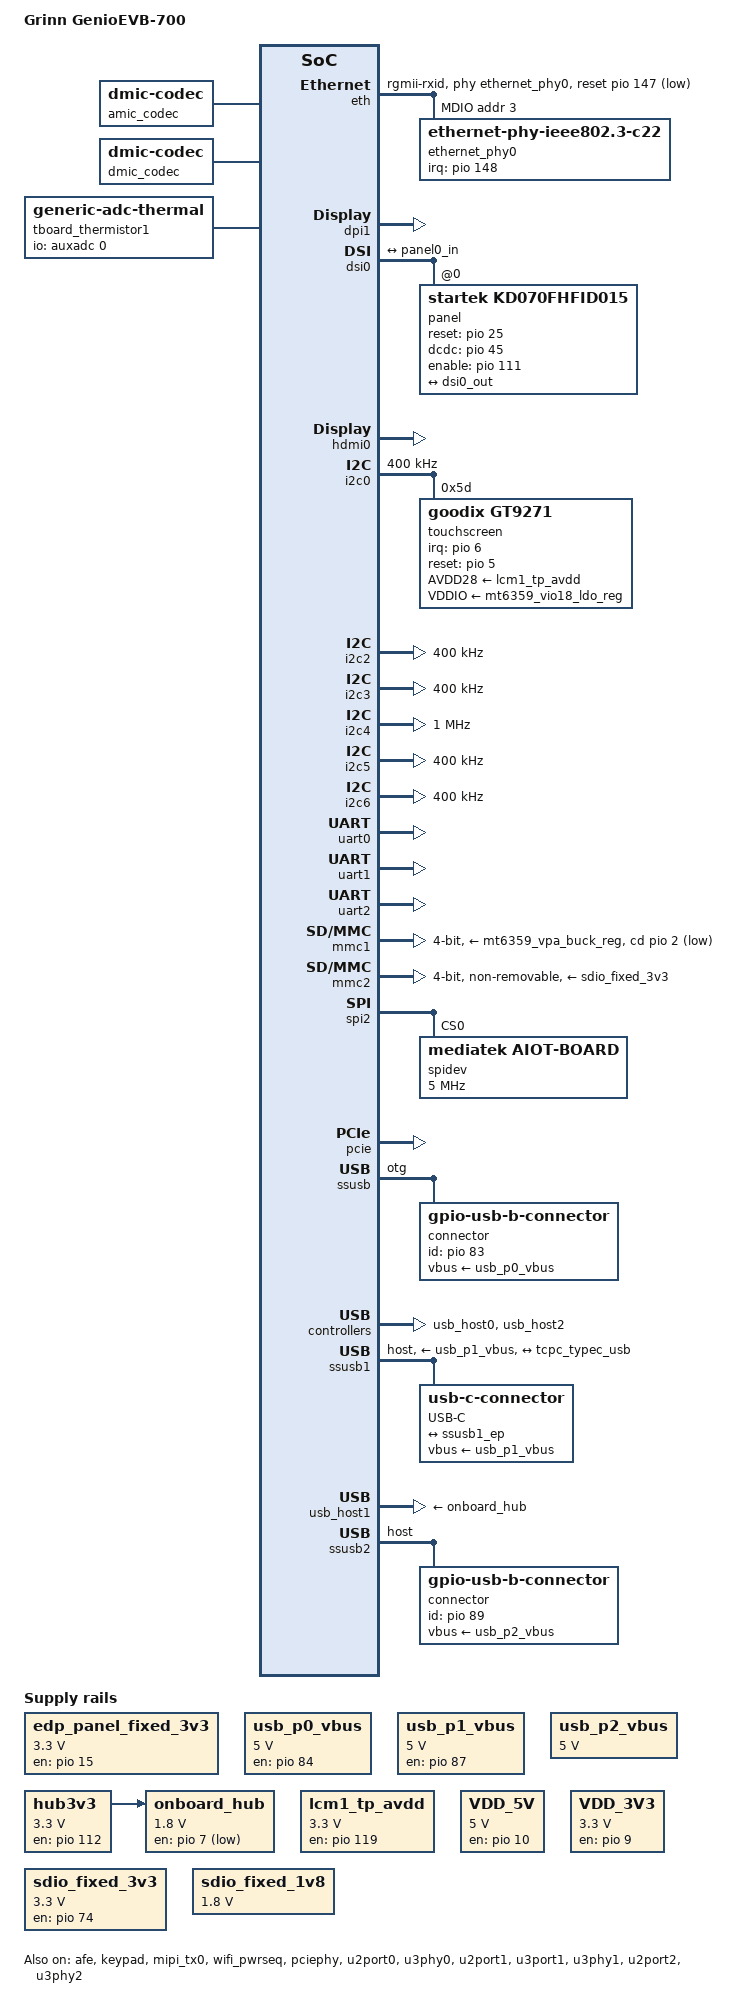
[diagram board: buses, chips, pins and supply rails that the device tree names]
// SPDX-License-Identifier: (GPL-2.0 OR MIT)
/*
 * Copyright (C) 2025 Grinn sp. z o.o..
 * Author: Grzegorz Runc <grzegorz.runc@grinn-global.com>
 */
/dts-v1/;
#include "grinn-genio-700-som.dtsi"
#include <dt-bindings/usb/pd.h>

/ {
	model = "Grinn GenioEVB-700";

	aliases {
		serial0 = &uart0;
		dsi0 = &dsi0;
		ethernet0 = &eth;
	};

	backlight_lcd0: backlight-lcd0 {
		compatible = "pwm-backlight";
		pwms = <&disp_pwm0 0 500000>;
		enable-gpios = <&pio 8 GPIO_ACTIVE_HIGH>;
		brightness-levels = <0 1023>;
		num-interpolated-steps = <1023>;
		default-brightness-level = <576>;
		status = "disabled";
	};

	chosen {
		stdout-path = "serial0:921600n8";
	};

	edp_panel_fixed_3v3: regulator@0 {
		compatible = "regulator-fixed";
		regulator-name = "edp_panel_3v3";
		regulator-min-microvolt = <3300000>;
		regulator-max-microvolt = <3300000>;
		enable-active-high;
		gpio = <&pio 15 GPIO_ACTIVE_HIGH>;
		pinctrl-names = "default";
		pinctrl-0 = <&edp_panel_3v3_en_pins>;
	};

	usb_p0_vbus: usb0-otg-vbus {
		compatible = "regulator-fixed";
		regulator-name = "p0_vbus";
		regulator-min-microvolt = <5000000>;
		regulator-max-microvolt = <5000000>;
		gpio = <&pio 84 GPIO_ACTIVE_HIGH>;
		enable-active-high;
	};

	usb_p1_vbus: usb-p1-vbus {
		compatible = "regulator-fixed";
		regulator-name = "p1_vbus";
		regulator-min-microvolt = <5000000>;
		regulator-max-microvolt = <5000000>;
		gpio = <&pio 87 GPIO_ACTIVE_HIGH>;
		enable-active-high;
	};

	usb_p2_vbus: usb-p2-vbus {
		compatible = "regulator-fixed";
		regulator-name = "p2_vbus";
		regulator-min-microvolt = <5000000>;
		regulator-max-microvolt = <5000000>;
		enable-active-high;
	};

	hub3v3: regulator@4 {
		compatible = "regulator-fixed";
		regulator-name = "vhub3v3";
		regulator-min-microvolt = <3300000>;
		regulator-max-microvolt = <3300000>;
		gpio = <&pio 112 0>; /* HUB_3V3_EN */
		startup-delay-us = <10000>;
		enable-active-high;
	};

	onboard_hub: regulator@5 {
		compatible = "regulator-fixed";
		regulator-name = "hub_reset";
		regulator-min-microvolt = <1800000>;
		regulator-max-microvolt = <1800000>;
		gpio = <&pio 7 0>; /* HUB_RESET */
		vin-supply = <&hub3v3>;
		enable-active-low;
	};

	lcm1_tp_avdd: lcm1-tp-avdd {
		compatible = "regulator-fixed";
		regulator-name = "lcm1-tp-avdd";
		regulator-min-microvolt = <3300000>;
		regulator-max-microvolt = <3300000>;
		gpio = <&pio 119 GPIO_ACTIVE_HIGH>;
		enable-active-high;
	};

	VDD_5V: VDD-5V {
		compatible = "regulator-fixed";
		regulator-name = "VDD-5V";
		regulator-min-microvolt = <5000000>;
		regulator-max-microvolt = <5000000>;
		gpio = <&pio 10 GPIO_ACTIVE_HIGH>;
		enable-active-high;
		regulator-always-on;
	};

	VDD_3V3: VDD-3V3 {
		compatible = "regulator-fixed";
		regulator-name = "VDD-3V3";
		regulator-min-microvolt = <3300000>;
		regulator-max-microvolt = <3300000>;
		gpio = <&pio 9 GPIO_ACTIVE_HIGH>;
		enable-active-high;
		regulator-always-on;
	};

	sdio_fixed_3v3: regulator@2 {
		compatible = "regulator-fixed";
		regulator-name = "sdio_card";
		regulator-min-microvolt = <3300000>;
		regulator-max-microvolt = <3300000>;
		gpio = <&pio 74 0>;
		enable-active-high;
		regulator-always-on;
	};

	sdio_fixed_1v8: regulator@3 {
		compatible = "regulator-fixed";
		regulator-name = "sdio_io";
		regulator-min-microvolt = <1800000>;
		regulator-max-microvolt = <1800000>;
		enable-active-high;
		regulator-always-on;
	};

	amic_codec: amic-codec {
		#sound-dai-cells = <0>;
		compatible = "dmic-codec";
		num-channels = <2>;
		wakeup-delay-ms = <200>;
	};

	dmic_codec: dmic-codec {
		#sound-dai-cells = <0>;
		compatible = "dmic-codec";
		num-channels = <2>;
		wakeup-delay-ms = <30>;
	};

	tboard_thermistor1: tboard-thermistor1 {
		compatible = "generic-adc-thermal";
		#thermal-sensor-cells = <0>;
		io-channels = <&auxadc 0>;
		io-channel-names = "sensor-channel";
		temperature-lookup-table = <    (-5000) 985
						0 860
						5000 740
						10000 629
						15000 530
						20000 442
						25000 367
						30000 304
						35000 251
						40000 207
						45000 171
						50000 141
						55000 117
						60000 97
						65000 81
						70000 67
						75000 56
						80000 47
						85000 40
						90000 34
						95000 29
						100000 25
						105000 21
						110000 18
						115000 15
						120000 13
						125000 12>;
	};	
};

&thermal_zones {
	ap-ntc {
		polling-delay = <1000>; /* milliseconds */
		polling-delay-passive = <0>; /* milliseconds */
		thermal-sensors = <&tboard_thermistor1>;
	};
};

&afe {
	memory-region = <&afe_dma_mem_reserved>;
	#sound-dai-cells = <0>;
	mediatek,dmic-iir-on;
	mediatek,dmic-clk-mono;
	status = "okay";
};

&eth {
	mediatek,mac-wol;
	phy-mode ="rgmii-rxid";
	phy-handle = <&ethernet_phy0>;
	snps,reset-gpio = <&pio 147 GPIO_ACTIVE_HIGH>;
	snps,reset-active-low;
	snps,reset-delays-us = <0 11000 200000>;
	mediatek,tx-delay-ps = <2030>;
	pinctrl-names = "default", "sleep";
	pinctrl-0 = <&eth_default_pins>;
	pinctrl-1 = <&eth_sleep_pins>;
	status = "okay";

	mdio {
		compatible = "snps,dwmac-mdio";
		#address-cells = <1>;
		#size-cells = <0>;
		ethernet_phy0: ethernet-phy@3 {
			reg = <3>;
			compatible = "ethernet-phy-ieee802.3-c22";
			eee-broken-1000t;
			interrupts-extended = <&pio 148 IRQ_TYPE_LEVEL_LOW>;
		};
	};
};

&dpi1 {
	status = "okay";
};

&dp_intf1 {
	status = "disabled";
	mediatek,oob-hpd;
	ports {
		port {
			dp_intf1_out: endpoint {
				remote-endpoint = <&dptx_in>;
			};
		};
	};
};

&dp_tx {
	pinctrl-names = "default";
	pinctrl-0 = <&dptx_pin>;
	status = "disabled";

	ports {
		#address-cells = <1>;
		#size-cells = <0>;
		port {
			dptx_in: endpoint {
				remote-endpoint = <&dp_intf1_out>;
			};
		};
	};
};

&dsi0 {
	#address-cells = <1>;
	#size-cells = <0>;
	status = "okay";
	poweron-in-hs-mode = <0>;

	panel@0 {
		compatible = "startek,kd070fhfid015";
		status = "okay";
		reg = <0>;
		pinctrl-names = "default";
		pinctrl-0 = <&panel_pins_default>;
		reset-gpios = <&pio 25 GPIO_ACTIVE_HIGH>;
		dcdc-gpios = <&pio 45 GPIO_ACTIVE_HIGH>;
		enable-gpios = <&pio 111 GPIO_ACTIVE_HIGH>;
		port {
			panel0_in: endpoint {
				remote-endpoint = <&dsi0_out>;
			};
		};
	};

	ports {
		port {
			dsi0_out: endpoint {
				remote-endpoint = <&panel0_in>;
			};
		};
	};
};

&hdmi0 {
	status = "okay";
};

&pio {
	gpio-line-names =
		"RPI_GPIO0", "RPI_GPIO1", "", "", "", "", "", "",			// 0 - 7,
		"", "", "", "", "RPI_GPIO12", "", "", "",				// 8 - 15,
		"", "", "", "", "", "", "", "",						// 16 - 24,
		"", "RPI_GPIO26", "", "RPI_GPIO28", "RPI_PWM0", "RPI_PWM1", "", "",	// 25 - 32,
		"", "", "RPI_UTXD2", "RPI_URXD2", "", "", "", "",			// 33 - 40,
		"", "", "", "", "", "", "", "",						// 41 - 48,
		"", "", "", "", "", "", "RPI_SCL0", "RPI_SDA0",				// 49 - 56,
		"", "", "RPI_SCL2", "RPI_SDA2", "", "", "RPI_GPIO63", "RPI_GPIO64",	// 57 - 64,
		"", "", "", "", "", "", "", "",						// 65 - 72,
		"RPI_GPIO73", "", "", "RPI_GPIO76", "", "RPI_GPIO78", "RPI_SPI_CS", "RPI_SPI_CLK", // 73 - 80,
		"RPI_SPI_MO", "RPI_SPI_MI", "", "", "", "", "", "",			// 81 - 88,
		"", "RPI_GPIO90", "", "", "", "", "", "",				// 89 - 96,
		"", "", "", "", "", "", "", "",						// 97 - 104,
		"", "", "", "", "", "", "RPI_GPIO111", "",				// 105 - 112,
		"", "", "", "", "", "", "", "",						// 113 - 120,
		"RPI_PCM_CLK", "RPI_PCM_SYNC", "RPI_PCM_DO", "RPI_PCM_DI", "", "", "", "";  // 121 - 128,

	aud_pins_default: audiodefault {
		pins-cmd-dat {
			pinmux = <PINMUX_GPIO101__FUNC_O_AUD_CLK_MOSI>,
				 <PINMUX_GPIO102__FUNC_O_AUD_SYNC_MOSI>,
				 <PINMUX_GPIO103__FUNC_O_AUD_DAT_MOSI0>,
				 <PINMUX_GPIO104__FUNC_O_AUD_DAT_MOSI1>,
				 <PINMUX_GPIO105__FUNC_I0_AUD_DAT_MISO0>,
				 <PINMUX_GPIO106__FUNC_I0_AUD_DAT_MISO1>,
				 <PINMUX_GPIO107__FUNC_B0_I2SIN_MCK>,
				 <PINMUX_GPIO108__FUNC_B0_I2SIN_BCK>,
				 <PINMUX_GPIO109__FUNC_B0_I2SIN_WS>,
				 <PINMUX_GPIO110__FUNC_I0_I2SIN_D0>,
				 <PINMUX_GPIO114__FUNC_O_I2SO2_MCK>,
				 <PINMUX_GPIO115__FUNC_B0_I2SO2_BCK>,
				 <PINMUX_GPIO116__FUNC_B0_I2SO2_WS>,
				 <PINMUX_GPIO117__FUNC_O_I2SO2_D0>,
				 <PINMUX_GPIO118__FUNC_O_I2SO2_D1>,
				 <PINMUX_GPIO125__FUNC_O_DMIC1_CLK>,
				 <PINMUX_GPIO126__FUNC_I0_DMIC1_DAT>,
				 <PINMUX_GPIO128__FUNC_O_DMIC2_CLK>,
				 <PINMUX_GPIO129__FUNC_I0_DMIC2_DAT>,
				 <PINMUX_GPIO121__FUNC_B0_PCM_CLK>,
				 <PINMUX_GPIO122__FUNC_B0_PCM_SYNC>,
				 <PINMUX_GPIO124__FUNC_I0_PCM_DI>;
		};
	};

	edp_panel_3v3_en_pins: edp-panel-3v3-en-pins {
		pins1 {
			pinmux = <PINMUX_GPIO15__FUNC_B_GPIO15>;
			output-high;
		};
	};

	dptx_pin: dptx-pin {
		pins-cmd-dat {
			pinmux = <PINMUX_GPIO46__FUNC_I0_DP_TX_HPD>;
			bias-pull-up;
		};
	};

	eth_default_pins: eth-default-pins {
		pins-txd {
			pinmux = <PINMUX_GPIO131__FUNC_O_GBE_TXD3>,
				 <PINMUX_GPIO132__FUNC_O_GBE_TXD2>,
				 <PINMUX_GPIO133__FUNC_O_GBE_TXD1>,
				 <PINMUX_GPIO134__FUNC_O_GBE_TXD0>;
			drive-strength = <MTK_DRIVE_8mA>;
		};
		pins-cc {
			pinmux = <PINMUX_GPIO139__FUNC_B0_GBE_TXC>,
				 <PINMUX_GPIO142__FUNC_O_GBE_TXEN>,
				 <PINMUX_GPIO141__FUNC_I0_GBE_RXDV>;
			drive-strength = <MTK_DRIVE_8mA>;
		};
		pins-rxd {
			pinmux = <PINMUX_GPIO135__FUNC_I0_GBE_RXD3>,
				 <PINMUX_GPIO136__FUNC_I0_GBE_RXD2>,
				 <PINMUX_GPIO137__FUNC_I0_GBE_RXD1>,
				 <PINMUX_GPIO138__FUNC_I0_GBE_RXD0>,
				 <PINMUX_GPIO140__FUNC_I0_GBE_RXC>;
			drive-strength = <MTK_DRIVE_8mA>;
			bias-pull-up = <MTK_PUPD_SET_R1R0_10>;
		};
		pins-mdio {
			pinmux = <PINMUX_GPIO143__FUNC_O_GBE_MDC>,
				 <PINMUX_GPIO144__FUNC_B1_GBE_MDIO>;
			drive-strength = <MTK_DRIVE_8mA>;
			input-enable;
		};
		pins-power {
			pinmux = <PINMUX_GPIO145__FUNC_B_GPIO145>,
				 <PINMUX_GPIO146__FUNC_B_GPIO146>,
				 <PINMUX_GPIO147__FUNC_B_GPIO147>;
			output-high;
		};
		pins-intr {
			pinmux = <PINMUX_GPIO148__FUNC_B_GPIO148>; /* GPIRQ_EQOS_PHY */
			bias-pull-up = <MTK_PUPD_SET_R1R0_10>;
			input-enable;
		};
	};

	eth_sleep_pins: eth-sleep-pins {
		pins-txd {
			pinmux = <PINMUX_GPIO131__FUNC_B_GPIO131>,
				 <PINMUX_GPIO132__FUNC_B_GPIO132>,
				 <PINMUX_GPIO133__FUNC_B_GPIO133>,
				 <PINMUX_GPIO134__FUNC_B_GPIO134>;
		};
		pins-cc {
			pinmux = <PINMUX_GPIO139__FUNC_B_GPIO139>,
				 <PINMUX_GPIO142__FUNC_B_GPIO142>,
				 <PINMUX_GPIO141__FUNC_B_GPIO141>,
				 <PINMUX_GPIO140__FUNC_B_GPIO140>;
		};
		pins-rxd {
			pinmux = <PINMUX_GPIO135__FUNC_B_GPIO135>,
				 <PINMUX_GPIO136__FUNC_B_GPIO136>,
				 <PINMUX_GPIO137__FUNC_B_GPIO137>,
				 <PINMUX_GPIO138__FUNC_B_GPIO138>;
		};
		pins-mdio {
			pinmux = <PINMUX_GPIO143__FUNC_B_GPIO143>,
				 <PINMUX_GPIO144__FUNC_B_GPIO144>;
			input-disable;
			bias-disable;
		};
	};

	uart0_pins: uart0-pins {
		pins {
			pinmux = <PINMUX_GPIO31__FUNC_O_UTXD0>,
				 <PINMUX_GPIO32__FUNC_I1_URXD0>;
			bias-pull-up;
		};
	};

	uart1_pins: uart1-pins {
		pins {
			pinmux = <PINMUX_GPIO33__FUNC_O_UTXD1>,
				 <PINMUX_GPIO34__FUNC_I1_URXD1>;
			bias-pull-up;
		};
	};

	uart2_pins: uart2-pins {
		pins {
			pinmux = <PINMUX_GPIO35__FUNC_O_UTXD2>,
				 <PINMUX_GPIO36__FUNC_I1_URXD2>;
			bias-pull-up;
		};
	};

	i2c0_pin: i2c0-pin {
		pins-bus {
			pinmux = <PINMUX_GPIO56__FUNC_B1_SDA0>,
				 <PINMUX_GPIO55__FUNC_B1_SCL0>;
			bias-pull-up = <MTK_PULL_SET_RSEL_011>;
			mediatek,drive-strength-adv = <7>;
		};
	};

	i2c2_pin: i2c2-pin {
		pins-bus {
			pinmux = <PINMUX_GPIO60__FUNC_B1_SDA2>,
				 <PINMUX_GPIO59__FUNC_B1_SCL2>;
			bias-pull-up = <MTK_PULL_SET_RSEL_011>;
			mediatek,drive-strength-adv = <7>;
		};
	};

	i2c3_pin: i2c3-pin {
		pins-bus {
			pinmux = <PINMUX_GPIO62__FUNC_B1_SDA3>,
				 <PINMUX_GPIO61__FUNC_B1_SCL3>;
			bias-pull-up = <MTK_PULL_SET_RSEL_011>;
			mediatek,drive-strength-adv = <7>;
		};
	};

	i2c4_pin: i2c4-pin {
		pins-bus {
			pinmux = <PINMUX_GPIO64__FUNC_B1_SDA4>,
				 <PINMUX_GPIO63__FUNC_B1_SCL4>;
			bias-pull-up = <MTK_PULL_SET_RSEL_011>;
			mediatek,drive-strength-adv = <7>;
		};
	};

	i2c5_pin: i2c5-pin {
		pins-bus {
			pinmux = <PINMUX_GPIO66__FUNC_B1_SDA5>,
				 <PINMUX_GPIO65__FUNC_B1_SCL5>;
			bias-pull-up = <MTK_PULL_SET_RSEL_011>;
			mediatek,drive-strength-adv = <7>;
		};
	};

	i2c6_pin: i2c6-pin {
		pins-bus {
			pinmux = <PINMUX_GPIO68__FUNC_B1_SDA6>,
				 <PINMUX_GPIO67__FUNC_B1_SCL6>;
			bias-pull-up = <MTK_PULL_SET_RSEL_011>;
			mediatek,drive-strength-adv = <7>;
		};
	};

	kpd_gpios_def_cfg: keypad-pins-default {
		pins_kp {
			pinmux = <PINMUX_GPIO44__FUNC_B1_KPROW0>,
					<PINMUX_GPIO43__FUNC_B1_KPCOL1>,
					<PINMUX_GPIO42__FUNC_B1_KPCOL0>;
		};
	};

	panel_pins_default: panel-pins-default {
		panel-dcdc {
			pinmux = <PINMUX_GPIO45__FUNC_B_GPIO45>;
			output-low;
		};

		panel-en {
			pinmux = <PINMUX_GPIO111__FUNC_B_GPIO111>;
			output-low;
		};

		panel-rst {
			pinmux = <PINMUX_GPIO25__FUNC_B_GPIO25>;
			output-high;
		};
	};

	mmc1_pins_default: mmc1default {
		pins-cmd-dat {
			pinmux = <PINMUX_GPIO163__FUNC_B1_MSDC1_CMD>,
				 <PINMUX_GPIO165__FUNC_B1_MSDC1_DAT0>,
				 <PINMUX_GPIO166__FUNC_B1_MSDC1_DAT1>,
				 <PINMUX_GPIO167__FUNC_B1_MSDC1_DAT2>,
				 <PINMUX_GPIO168__FUNC_B1_MSDC1_DAT3>;
			input-enable;
			drive-strength = <MTK_DRIVE_6mA>;
			bias-pull-up = <MTK_PUPD_SET_R1R0_01>;
		};

		pins-clk {
			pinmux = <PINMUX_GPIO164__FUNC_B1_MSDC1_CLK>;
			drive-strength = <MTK_DRIVE_6mA>;
			bias-pull-down = <MTK_PUPD_SET_R1R0_10>;
		};

		pins-insert {
			pinmux = <PINMUX_GPIO2__FUNC_B_GPIO2>;
			bias-pull-up;
		};
	};

	mmc1_pins_uhs: mmc1uhs {
		pins-cmd-dat {
			pinmux = <PINMUX_GPIO163__FUNC_B1_MSDC1_CMD>,
				 <PINMUX_GPIO165__FUNC_B1_MSDC1_DAT0>,
				 <PINMUX_GPIO166__FUNC_B1_MSDC1_DAT1>,
				 <PINMUX_GPIO167__FUNC_B1_MSDC1_DAT2>,
				 <PINMUX_GPIO168__FUNC_B1_MSDC1_DAT3>;
			input-enable;
			drive-strength = <MTK_DRIVE_6mA>;
			bias-pull-up = <MTK_PUPD_SET_R1R0_01>;
		};

		pins-clk {
			pinmux = <PINMUX_GPIO164__FUNC_B1_MSDC1_CLK>;
			drive-strength = <MTK_DRIVE_6mA>;
			bias-pull-down = <MTK_PUPD_SET_R1R0_10>;
		};
	};

	mmc2_pins_default: mmc2default {
		pins-clk {
			pinmux = <PINMUX_GPIO170__FUNC_B1_MSDC2_CLK>;
			drive-strength = <MTK_DRIVE_4mA>;
			bias-pull-down = <MTK_PUPD_SET_R1R0_10>;
		};

		pins-cmd-dat {
			pinmux = <PINMUX_GPIO169__FUNC_B1_MSDC2_CMD>,
				 <PINMUX_GPIO171__FUNC_B1_MSDC2_DAT0>,
				 <PINMUX_GPIO172__FUNC_B1_MSDC2_DAT1>,
				 <PINMUX_GPIO173__FUNC_B1_MSDC2_DAT2>,
				 <PINMUX_GPIO174__FUNC_B1_MSDC2_DAT3>;
			input-enable;
			drive-strength = <MTK_DRIVE_6mA>;
			bias-pull-up = <MTK_PUPD_SET_R1R0_01>;
		};

		pins-pcm {
			pinmux = <PINMUX_GPIO123__FUNC_O_PCM_DO>;
		};
	};

	mmc2_pins_uhs: mmc2uhs {
		pins-clk {
			pinmux = <PINMUX_GPIO170__FUNC_B1_MSDC2_CLK>;
			drive-strength = <MTK_DRIVE_4mA>;
			bias-pull-down = <MTK_PUPD_SET_R1R0_10>;
		};

		pins-cmd-dat {
			pinmux = <PINMUX_GPIO169__FUNC_B1_MSDC2_CMD>,
				 <PINMUX_GPIO171__FUNC_B1_MSDC2_DAT0>,
				 <PINMUX_GPIO172__FUNC_B1_MSDC2_DAT1>,
				 <PINMUX_GPIO173__FUNC_B1_MSDC2_DAT2>,
				 <PINMUX_GPIO174__FUNC_B1_MSDC2_DAT3>;
			input-enable;
			drive-strength = <MTK_DRIVE_6mA>;
			bias-pull-up = <MTK_PUPD_SET_R1R0_01>;
		};
	};

	mmc2_pins_eint: dat1-eint {
		pins-dat1 {
			pinmux = <PINMUX_GPIO172__FUNC_B_GPIO172>;
			input-enable;
			bias-pull-up = <MTK_PUPD_SET_R1R0_01>;
		};
	};

	mmc2_pins_dat1: sdio-dat1 {
		pins-dat1 {
			pinmux = <PINMUX_GPIO172__FUNC_B1_MSDC2_DAT1>;
			input-enable;
			drive-strength = <MTK_DRIVE_6mA>;
			bias-pull-up = <MTK_PUPD_SET_R1R0_01>;
		};
	};

	wifi_pins_pwrseq: wifipwrseq {
		pins-wifi-enable {
			pinmux = <PINMUX_GPIO127__FUNC_B_GPIO127>;
			output-low;
		};
	};

	spi0_pins: spi0-pins {
		pins-spi {
			pinmux = <PINMUX_GPIO69__FUNC_O_SPIM0_CSB>,
				<PINMUX_GPIO70__FUNC_O_SPIM0_CLK>,
				<PINMUX_GPIO71__FUNC_B0_SPIM0_MOSI>,
				<PINMUX_GPIO72__FUNC_B0_SPIM0_MISO>;
			bias-disable;
		};
	};

	spi1_pins: spi1-pins {
		pins-spi {
			pinmux = <PINMUX_GPIO75__FUNC_O_SPIM1_CSB>,
				<PINMUX_GPIO76__FUNC_O_SPIM1_CLK>,
				<PINMUX_GPIO77__FUNC_B0_SPIM1_MOSI>,
				<PINMUX_GPIO78__FUNC_B0_SPIM1_MISO>;
			bias-disable;
		};
	};

	spi2_pins: spi2-pins {
		pins-spi {
			pinmux = <PINMUX_GPIO79__FUNC_O_SPIM2_CSB>,
				<PINMUX_GPIO80__FUNC_O_SPIM2_CLK>,
				<PINMUX_GPIO81__FUNC_B0_SPIM2_MOSI>,
				<PINMUX_GPIO82__FUNC_B0_SPIM2_MISO>;
			bias-disable;
		};
	};

	pcie_pins_default: pcie-default {
		mux {
			pinmux = <PINMUX_GPIO47__FUNC_I1_WAKEN>,
				 <PINMUX_GPIO48__FUNC_O_PERSTN>,
				 <PINMUX_GPIO49__FUNC_B1_CLKREQN>;
			bias-pull-up;
		};
	};

	usb_default: usbdefault {
		iddig-pin {
			pinmux = <PINMUX_GPIO83__FUNC_B_GPIO83>;
			input-enable;
			bias-pull-up;
		};

		vbus-pins {
			pinmux = <PINMUX_GPIO84__FUNC_O_USB_DRVVBUS>;
			output-high;
		};

		valid-pin {
			pinmux = <PINMUX_GPIO85__FUNC_I0_VBUSVALID>;
			input-enable;
		};
	};

	usb1_default: usbp1default {
		valid_pin {
			pinmux = <PINMUX_GPIO88__FUNC_I0_VBUSVALID_1P>;
			input-enable;
		};

		usb-hub-3v3-en-pin {
			pinmux = <PINMUX_GPIO112__FUNC_B_GPIO112>;
			output-high;
		};
	};

	touch_pins: touchdefault {
		touch_pin_irq: pin-irq {
			pinmux = <PINMUX_GPIO6__FUNC_B_GPIO6>;
			input-enable;
			bias-disable;
		};

		touch_pin_reset: pin-reset {
			pinmux = <PINMUX_GPIO5__FUNC_B_GPIO5>;
			output-high;
		};
	};
};

&i2c0 {
	pinctrl-names = "default";
	pinctrl-0 = <&i2c0_pin>;
	clock-frequency = <400000>;
	status = "okay";
	touchscreen@5d {
		compatible = "goodix,gt9271";
		reg = <0x5d>;
		interrupt-parent = <&pio>;
		interrupts = <6 IRQ_TYPE_EDGE_RISING>;
		irq-gpios = <&pio 6 GPIO_ACTIVE_HIGH>;
		reset-gpios = <&pio 5 GPIO_ACTIVE_HIGH>;
		AVDD28-supply = <&lcm1_tp_avdd>;
		VDDIO-supply = <&mt6359_vio18_ldo_reg>;
		pinctrl-names = "default";
		pinctrl-0 = <&touch_pins>;
	};
};

&i2c2 {
	pinctrl-names = "default";
	pinctrl-0 = <&i2c2_pin>;
	clock-frequency = <400000>;
	status = "okay";
};

&i2c3 {
	pinctrl-names = "default";
	pinctrl-0 = <&i2c3_pin>;
	clock-frequency = <400000>;
	status = "okay";
};

&i2c4 {
	pinctrl-names = "default", "default";
	pinctrl-0 = <&i2c4_pin>;
	clock-frequency = <1000000>;
	status = "okay";
};

&i2c5 {
	pinctrl-names = "default";
	pinctrl-0 = <&i2c5_pin>;
	clock-frequency = <400000>;
	status = "okay";
};

&i2c6 {
	pinctrl-names = "default";
	pinctrl-0 = <&i2c6_pin>;
	clock-frequency = <400000>;
	status = "okay";
};


&keypad {
	mediatek,debounce-us = <32000>;
	mediatek,double-keys;
	keypad,num-rows = <1>;
	keypad,num-columns = <2>;
	linux,keymap =
		<MATRIX_KEY(0x00, 0x00, KEY_VOLUMEDOWN)
		 MATRIX_KEY(0x00, 0x01, KEY_VOLUMEUP)>;
	status = "okay";
	pinctrl-names = "default";
	pinctrl-0 = <&kpd_gpios_def_cfg>;
};

&mt6359codec {
	mediatek,mic-type-0 = <1>; /* ACC */
	mediatek,mic-type-1 = <3>; /* DCC */
};

&uart0 {
	pinctrl-0 = <&uart0_pins>;
	pinctrl-names = "default";
	status = "okay";
};

&uart1 {
	pinctrl-0 = <&uart1_pins>;
	pinctrl-names = "default";
	status = "okay";
};

&uart2 {
	pinctrl-0 = <&uart2_pins>;
	pinctrl-names = "default";
	status = "okay";
};

&mipi_tx0 {
	status = "okay";
};

&mmc1 {
	status = "okay";
	pinctrl-names = "default", "state_uhs";
	pinctrl-0 = <&mmc1_pins_default>;
	pinctrl-1 = <&mmc1_pins_uhs>;
	bus-width = <4>;
	max-frequency = <200000000>;
	cap-sd-highspeed;
	sd-uhs-sdr50;
	sd-uhs-sdr104;
	no-mmc;
	no-sdio;
	cd-gpios = <&pio 2 GPIO_ACTIVE_LOW>;
	vmmc-supply = <&mt6359_vpa_buck_reg>;
	vqmmc-supply = <&mt6359_vsim1_ldo_reg>;
};

&wifi_pwrseq {
	status = "okay";
	pinctrl-names = "default";
	pinctrl-0 = <&wifi_pins_pwrseq>;

	reset-gpios = <&pio 127 1>;
	post-power-on-delay-ms = <200>;
};

&mmc2 {
	status = "okay";
	pinctrl-names = "default", "state_uhs", "state_eint",
					"state_dat1";
	pinctrl-0 = <&mmc2_pins_default>;
	pinctrl-1 = <&mmc2_pins_uhs>;
	pinctrl-2 = <&mmc2_pins_eint>;
	pinctrl-3 = <&mmc2_pins_dat1>;
	eint-gpios = <&pio 172 0>;
	bus-width = <4>;
	max-frequency = <200000000>;
	cap-sd-highspeed;
	sd-uhs-sdr104;
	keep-power-in-suspend;
	enable-sdio-wakeup;
	cap-sdio-async-int;
	cap-sdio-irq;
	no-mmc;
	no-sd;
	non-removable;
	vmmc-supply = <&sdio_fixed_3v3>;
	vqmmc-supply = <&sdio_fixed_1v8>;
	mmc-pwrseq = <&wifi_pwrseq>;
};

&spi2 {
	pinctrl-0 = <&spi2_pins>;
	pinctrl-names = "default";
	mediatek,pad-select = <0>;
	#address-cells = <1>;
	#size-cells = <0>;
	status = "okay";

	spidev@0 {
		compatible = "mediatek,aiot-board";
		spi-max-frequency = <5000000>;
		reg = <0>;
	};
};

&pcie {
	pinctrl-names = "default";
	pinctrl-0 = <&pcie_pins_default>;
	status = "okay";
};

&pciephy {
	status = "okay";
};

&ssusb {
	pinctrl-0 = <&usb_default>;
	pinctrl-names = "default";
	maximum-speed = "high-speed";
	usb-role-switch;
	dr_mode = "otg";
	vusb33-supply = <&mt6359_vusb_ldo_reg>;
	status = "okay";
	wakeup-source;

	connector {
		compatible = "gpio-usb-b-connector", "usb-b-connector";
		type = "micro";
		id-gpios = <&pio 83 GPIO_ACTIVE_HIGH>;
		vbus-supply = <&usb_p0_vbus>;
	};
};

&u2port0 {
	status = "okay";
};

&u3phy0 {
	status = "okay";
};

&usb_host0 {
	status = "okay";
	vusb33-supply = <&mt6359_vusb_ldo_reg>;
};

&ssusb1 {
	pinctrl-0 = <&usb1_default>;
	pinctrl-names = "default";
	vusb33-supply = <&mt6359_vusb_ldo_reg>;
	vbus-supply = <&usb_p1_vbus>;
	dr_mode = "host";
	mediatek,usb3-drd;
	usb-role-switch;
	status = "okay";
	wakeup-source;

	connector {
		compatible = "usb-c-connector";
		label = "USB-C";
		data-role = "host";
		power-role = "source";
		try-power-role = "source";
		vbus-supply = <&usb_p1_vbus>;

		ports {
			#address-cells = <1>;
			#size-cells = <0>;

			port@0 {
				reg = <0>;
				tcpc_typec_usb: endpoint {
						remote-endpoint = <&ssusb1_ep>;
				};
			};
		};
	};

	port {
		ssusb1_ep: endpoint {
			remote-endpoint = <&tcpc_typec_usb>;
		};
	};
};

&u2port1 {
	status = "okay";
};

&u3port1 {
	status = "okay";
};

&u3phy1 {
	status = "okay";
};

&usb_host1 {
	status = "okay";
	vusb33-supply = <&mt6359_vusb_ldo_reg>;
	vbus-supply = <&onboard_hub>;
};

&ssusb2 {
	maximum-speed = "high-speed";
	usb-role-switch;
	dr_mode = "host";
	vusb33-supply = <&mt6359_vusb_ldo_reg>;
	status = "okay";
	wakeup-source;

	connector {
		compatible = "gpio-usb-b-connector", "usb-b-connector";
		type = "micro";
		id-gpios = <&pio 89 GPIO_ACTIVE_HIGH>;
		vbus-supply = <&usb_p2_vbus>;
	};
};

&u2port2 {
	status = "okay";
};

&u3phy2 {
	status = "okay";
};

&usb_host2 {
	status = "okay";
	vusb33-supply = <&mt6359_vusb_ldo_reg>;
};

&sound {
	compatible = "mediatek,mt8390-evk";
	model = "mt8390-evk";
	pinctrl-names = "default";
	pinctrl-0 = <&aud_pins_default>;
	audio-routing =
		"Headphone", "Headphone L",
		"Headphone", "Headphone R",
		"AIN1", "Headset Mic",
		"DMIC_INPUT", "AP DMIC",
		"AP DMIC", "AUDGLB",
		"AP DMIC", "MIC_BIAS_0",
		"AP DMIC", "MIC_BIAS_2";
	status = "okay";

	dai-link-0 {
		sound-dai = <&afe>;
		dai-link-name = "ADDA_BE";
		status = "okay";

		codec-0 {
			sound-dai = <&pmic 0>;
		};

		codec-1 {
			sound-dai = <&amic_codec>;
		};
	};

	dai-link-1 {
		sound-dai = <&afe>;
		dai-link-name = "ETDM3_OUT_BE";
		status = "okay";

		codec-0 {
			sound-dai = <&hdmi0>;
		};
	};

	dai-link-2 {
		sound-dai = <&afe>;
		dai-link-name = "DPTX_BE";
		status = "disabled";

		codec-0 {
			sound-dai = <&dp_tx>;
		};
	};

	dai-link-3 {
		sound-dai = <&afe>;
		dai-link-name = "DMIC_BE";
		status = "okay";

		codec-0 {
			sound-dai = <&dmic_codec>;
		};
	};
};
